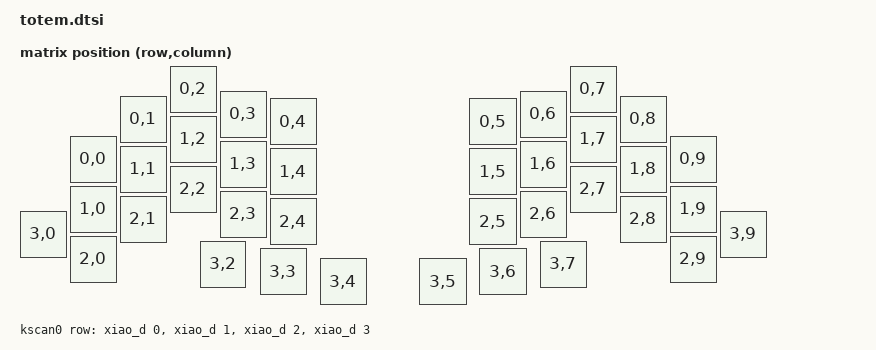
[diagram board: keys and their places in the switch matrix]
/*
 * Copyright (c) 2022 The ZMK Contributors
 *
 * SPDX-License-Identifier: MIT
 */

#include <dt-bindings/zmk/matrix_transform.h>
#include <physical_layouts.dtsi>

/ {
    chosen {
        zmk,kscan = &kscan0;
        zmk,physical-layout = &totem_layout;
    };

    totem_layout: layout {
        compatible = "zmk,physical-layout";
        display-name = "TOTEM";
        transform = <&default_transform>;
        keys  //                w   h    x    y   rot  rx  ry
            = <&key_physical_attrs 100 100  100  140    0   0   0>  /* L00 */
            , <&key_physical_attrs 100 100  200   60    0   0   0>  /* L01 */
            , <&key_physical_attrs 100 100  300    0    0   0   0>  /* L02 */
            , <&key_physical_attrs 100 100  400   50    0   0   0>  /* L03 */
            , <&key_physical_attrs 100 100  500   65    0   0   0>  /* L04 */
            , <&key_physical_attrs 100 100  900   65    0   0   0>  /* R00 */
            , <&key_physical_attrs 100 100 1000   50    0   0   0>  /* R01 */
            , <&key_physical_attrs 100 100 1100    0    0   0   0>  /* R02 */
            , <&key_physical_attrs 100 100 1200   60    0   0   0>  /* R03 */
            , <&key_physical_attrs 100 100 1300  140    0   0   0>  /* R04 */
            , <&key_physical_attrs 100 100  100  240    0   0   0>  /* L10 */
            , <&key_physical_attrs 100 100  200  160    0   0   0>  /* L11 */
            , <&key_physical_attrs 100 100  300  100    0   0   0>  /* L12 */
            , <&key_physical_attrs 100 100  400  150    0   0   0>  /* L13 */
            , <&key_physical_attrs 100 100  500  165    0   0   0>  /* L14 */
            , <&key_physical_attrs 100 100  900  165    0   0   0>  /* R10 */
            , <&key_physical_attrs 100 100 1000  150    0   0   0>  /* R11 */
            , <&key_physical_attrs 100 100 1100  100    0   0   0>  /* R12 */
            , <&key_physical_attrs 100 100 1200  160    0   0   0>  /* R13 */
            , <&key_physical_attrs 100 100 1300  240    0   0   0>  /* R14 */
            , <&key_physical_attrs 100 100    0  290    0   0   0>  /* L30 (outer pinky) */
            , <&key_physical_attrs 100 100  100  340    0   0   0>  /* L20 */
            , <&key_physical_attrs 100 100  200  260    0   0   0>  /* L21 */
            , <&key_physical_attrs 100 100  300  200    0   0   0>  /* L22 */
            , <&key_physical_attrs 100 100  400  250    0   0   0>  /* L23 */
            , <&key_physical_attrs 100 100  500  265    0   0   0>  /* L24 */
            , <&key_physical_attrs 100 100  900  265    0   0   0>  /* R20 */
            , <&key_physical_attrs 100 100 1000  250    0   0   0>  /* R21 */
            , <&key_physical_attrs 100 100 1100  200    0   0   0>  /* R22 */
            , <&key_physical_attrs 100 100 1200  260    0   0   0>  /* R23 */
            , <&key_physical_attrs 100 100 1300  340    0   0   0>  /* R24 */
            , <&key_physical_attrs 100 100 1400  290    0   0   0>  /* R34 (outer pinky) */
            , <&key_physical_attrs 100 100  360  350    0   0   0>  /* L32 (thumb inner) */
            , <&key_physical_attrs 100 100  480  365    0   0   0>  /* L33 (thumb mid) */
            , <&key_physical_attrs 100 100  600  385    0   0   0>  /* L34 (thumb outer) */
            , <&key_physical_attrs 100 100  800  385    0   0   0>  /* R30 (thumb outer) */
            , <&key_physical_attrs 100 100  920  365    0   0   0>  /* R31 (thumb mid) */
            , <&key_physical_attrs 100 100 1040  350    0   0   0>  /* R32 (thumb inner) */
            ;
    };

    default_transform: keymap_transform_0 {
        compatible = "zmk,matrix-transform";
        columns = <10>;
        rows = <4>;
//             | SW01  | SW02  | SW03  | SW04  | SW05  |  | SW05  | SW04  | SW03  | SW02  | SW01  |
//             | SW06  | SW07  | SW08  | SW09  | SW10  |  | SW10  | SW09  | SW08  | SW07  | SW06  | 
//      | SW16 | SW11  | SW12  | SW13  | SW14  | SW15  |  | SW15  | SW14  | SW13  | SW12  | SW11  | SW16  |
//                             | SW17  | SW18  | SW19  |  | SW19  | SW18  | SW17  | 
        map = <
                RC(0,0) RC(0,1) RC(0,2) RC(0,3) RC(0,4)    RC(0,5) RC(0,6) RC(0,7) RC(0,8) RC(0,9)
                RC(1,0) RC(1,1) RC(1,2) RC(1,3) RC(1,4)    RC(1,5) RC(1,6) RC(1,7) RC(1,8) RC(1,9)
        RC(3,0) RC(2,0) RC(2,1) RC(2,2) RC(2,3) RC(2,4)    RC(2,5) RC(2,6) RC(2,7) RC(2,8) RC(2,9) RC(3,9)
                                RC(3,2) RC(3,3) RC(3,4)    RC(3,5) RC(3,6) RC(3,7)         
        >;
    };


    kscan0: kscan_0 {
        compatible = "zmk,kscan-gpio-matrix";
        label = "KSCAN";
        wakeup-source;
        
        diode-direction = "col2row"; 
        row-gpios
            = <&xiao_d 0 (GPIO_ACTIVE_HIGH | GPIO_PULL_DOWN)>
            , <&xiao_d 1 (GPIO_ACTIVE_HIGH | GPIO_PULL_DOWN)>
            , <&xiao_d 2 (GPIO_ACTIVE_HIGH | GPIO_PULL_DOWN)>
            , <&xiao_d 3 (GPIO_ACTIVE_HIGH | GPIO_PULL_DOWN)>
            ;
    };
};
